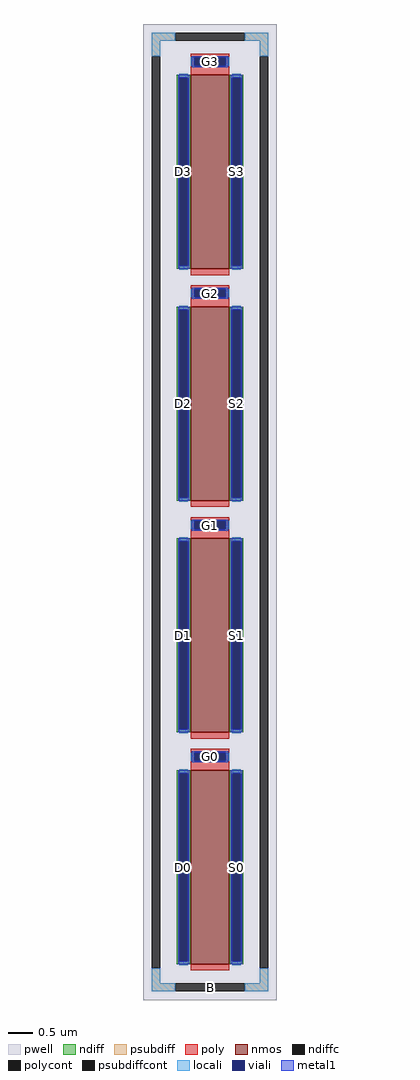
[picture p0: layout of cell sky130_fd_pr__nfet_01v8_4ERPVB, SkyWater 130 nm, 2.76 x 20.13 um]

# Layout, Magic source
magic
tech sky130A
magscale 1 2
<< pwell >>
rect -276 -2013 276 2013
<< nmos >>
rect -80 1003 80 1803
rect -80 47 80 847
rect -80 -909 80 -109
rect -80 -1865 80 -1065
<< ndiff >>
rect -138 1791 -80 1803
rect -138 1015 -126 1791
rect -92 1015 -80 1791
rect -138 1003 -80 1015
rect 80 1791 138 1803
rect 80 1015 92 1791
rect 126 1015 138 1791
rect 80 1003 138 1015
rect -138 835 -80 847
rect -138 59 -126 835
rect -92 59 -80 835
rect -138 47 -80 59
rect 80 835 138 847
rect 80 59 92 835
rect 126 59 138 835
rect 80 47 138 59
rect -138 -121 -80 -109
rect -138 -897 -126 -121
rect -92 -897 -80 -121
rect -138 -909 -80 -897
rect 80 -121 138 -109
rect 80 -897 92 -121
rect 126 -897 138 -121
rect 80 -909 138 -897
rect -138 -1077 -80 -1065
rect -138 -1853 -126 -1077
rect -92 -1853 -80 -1077
rect -138 -1865 -80 -1853
rect 80 -1077 138 -1065
rect 80 -1853 92 -1077
rect 126 -1853 138 -1077
rect 80 -1865 138 -1853
<< ndiffc >>
rect -126 1015 -92 1791
rect 92 1015 126 1791
rect -126 59 -92 835
rect 92 59 126 835
rect -126 -897 -92 -121
rect 92 -897 126 -121
rect -126 -1853 -92 -1077
rect 92 -1853 126 -1077
<< psubdiff >>
rect -240 1943 -144 1977
rect 144 1943 240 1977
rect -240 1881 -206 1943
rect 206 1881 240 1943
rect -240 -1943 -206 -1881
rect 206 -1943 240 -1881
rect -240 -1977 -144 -1943
rect 144 -1977 240 -1943
<< psubdiffcont >>
rect -144 1943 144 1977
rect -240 -1881 -206 1881
rect 206 -1881 240 1881
rect -144 -1977 144 -1943
<< poly >>
rect -80 1875 80 1891
rect -80 1841 -64 1875
rect 64 1841 80 1875
rect -80 1803 80 1841
rect -80 977 80 1003
rect -80 919 80 935
rect -80 885 -64 919
rect 64 885 80 919
rect -80 847 80 885
rect -80 21 80 47
rect -80 -37 80 -21
rect -80 -71 -64 -37
rect 64 -71 80 -37
rect -80 -109 80 -71
rect -80 -935 80 -909
rect -80 -993 80 -977
rect -80 -1027 -64 -993
rect 64 -1027 80 -993
rect -80 -1065 80 -1027
rect -80 -1891 80 -1865
<< polycont >>
rect -64 1841 64 1875
rect -64 885 64 919
rect -64 -71 64 -37
rect -64 -1027 64 -993
<< locali >>
rect -240 1943 -144 1977
rect 144 1943 240 1977
rect -240 1881 -206 1943
rect 206 1881 240 1943
rect -80 1841 -64 1875
rect 64 1841 80 1875
rect -126 1791 -92 1807
rect -126 999 -92 1015
rect 92 1791 126 1807
rect 92 999 126 1015
rect -80 885 -64 919
rect 64 885 80 919
rect -126 835 -92 851
rect -126 43 -92 59
rect 92 835 126 851
rect 92 43 126 59
rect -80 -71 -64 -37
rect 64 -71 80 -37
rect -126 -121 -92 -105
rect -126 -913 -92 -897
rect 92 -121 126 -105
rect 92 -913 126 -897
rect -80 -1027 -64 -993
rect 64 -1027 80 -993
rect -126 -1077 -92 -1061
rect -126 -1869 -92 -1853
rect 92 -1077 126 -1061
rect 92 -1869 126 -1853
rect -240 -1943 -206 -1881
rect 206 -1943 240 -1881
rect -240 -1977 -144 -1943
rect 144 -1977 240 -1943
<< viali >>
rect -64 1841 64 1875
rect -126 1015 -92 1791
rect 92 1015 126 1791
rect -64 885 64 919
rect -126 59 -92 835
rect 92 59 126 835
rect -64 -71 64 -37
rect -126 -897 -92 -121
rect 92 -897 126 -121
rect -64 -1027 64 -993
rect -126 -1853 -92 -1077
rect 92 -1853 126 -1077
<< metal1 >>
rect -76 1875 76 1881
rect -76 1841 -64 1875
rect 64 1841 76 1875
rect -76 1835 76 1841
rect -132 1791 -86 1803
rect -132 1015 -126 1791
rect -92 1015 -86 1791
rect -132 1003 -86 1015
rect 86 1791 132 1803
rect 86 1015 92 1791
rect 126 1015 132 1791
rect 86 1003 132 1015
rect -76 919 76 925
rect -76 885 -64 919
rect 64 885 76 919
rect -76 879 76 885
rect -132 835 -86 847
rect -132 59 -126 835
rect -92 59 -86 835
rect -132 47 -86 59
rect 86 835 132 847
rect 86 59 92 835
rect 126 59 132 835
rect 86 47 132 59
rect -76 -37 76 -31
rect -76 -71 -64 -37
rect 64 -71 76 -37
rect -76 -77 76 -71
rect -132 -121 -86 -109
rect -132 -897 -126 -121
rect -92 -897 -86 -121
rect -132 -909 -86 -897
rect 86 -121 132 -109
rect 86 -897 92 -121
rect 126 -897 132 -121
rect 86 -909 132 -897
rect -76 -993 76 -987
rect -76 -1027 -64 -993
rect 64 -1027 76 -993
rect -76 -1033 76 -1027
rect -132 -1077 -86 -1065
rect -132 -1853 -126 -1077
rect -92 -1853 -86 -1077
rect -132 -1865 -86 -1853
rect 86 -1077 132 -1065
rect 86 -1853 92 -1077
rect 126 -1853 132 -1077
rect 86 -1865 132 -1853
<< labels >>
rlabel psubdiffcont 0 -1960 0 -1960 0 B
port 1 nsew
rlabel ndiffc -109 -1465 -109 -1465 0 D0
port 2 nsew
rlabel ndiffc 109 -1465 109 -1465 0 S0
port 3 nsew
rlabel polycont 0 -1010 0 -1010 0 G0
port 4 nsew
rlabel ndiffc -109 -509 -109 -509 0 D1
port 5 nsew
rlabel ndiffc 109 -509 109 -509 0 S1
port 6 nsew
rlabel polycont 0 -54 0 -54 0 G1
port 7 nsew
rlabel ndiffc -109 447 -109 447 0 D2
port 8 nsew
rlabel ndiffc 109 447 109 447 0 S2
port 9 nsew
rlabel polycont 0 902 0 902 0 G2
port 10 nsew
rlabel ndiffc -109 1403 -109 1403 0 D3
port 11 nsew
rlabel ndiffc 109 1403 109 1403 0 S3
port 12 nsew
rlabel polycont 0 1858 0 1858 0 G3
port 13 nsew
<< properties >>
string FIXED_BBOX -223 -1960 223 1960
string gencell sky130_fd_pr__nfet_01v8
string library sky130
string parameters w 4.0 l 0.8 m 4 nf 1 diffcov 100 polycov 100 guard 1 glc 1 grc 1 gtc 1 gbc 1 tbcov 100 rlcov 100 topc 1 botc 0 poverlap 0 doverlap 1 lmin 0.15 wmin 0.42 class mosfet compatible {sky130_fd_pr__nfet_01v8 sky130_fd_pr__nfet_01v8_lvt  sky130_fd_bs_flash__special_sonosfet_star  sky130_fd_pr__nfet_g5v0d10v5 sky130_fd_pr__nfet_05v0_nvt  sky130_fd_pr__nfet_03v3_nvt} full_metal 1 conn_gates 0 viasrc 100 viadrn 100 viagate 100 viagb 0 viagr 0 viagl 0 viagt 0 doports 1
<< end >>
